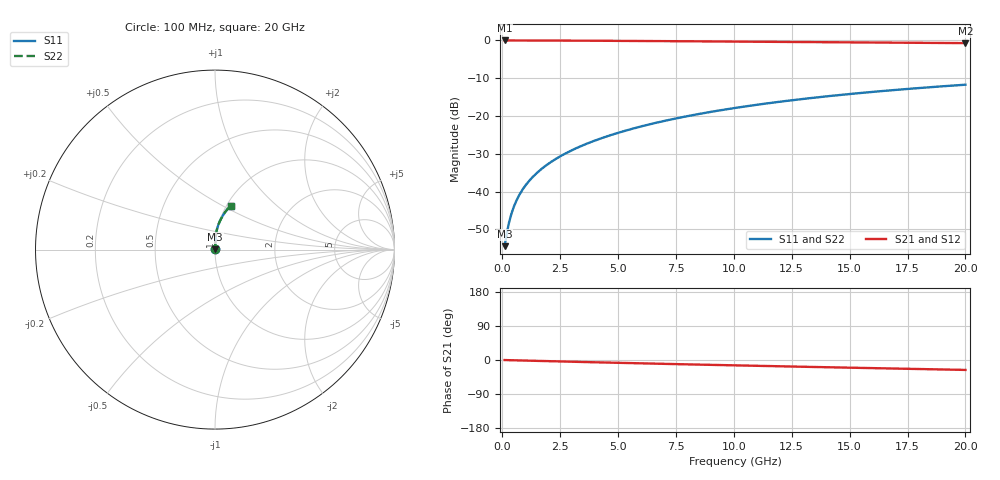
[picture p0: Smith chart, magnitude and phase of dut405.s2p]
! Touchstone file exported from HFSS 2024.1.0
!  File:  C:/UserFiles/LocalFiles/RDL_TSV_Batchsim/temp_RDL_bottom_405_1779683071.aedt
!  Generated:  12:26:51 PM May 25, 2026
!  Design:  RDL_bottom
!  Project:  temp_RDL_bottom_405_1779683071
!  Setup:  Setup1
!  Solution:  Sweep
! Variables:
!  dtsv = 10.80580581um
!  hbump = 3um
!  htsv = 83.5um
!  ldown = 352.14um
!  lrdl = 100um
!  p = 40
!  p1 = 51.18um
!  rhole = 1um
!  t = 450um
!  tdown = 4.45um
!  trdl = 3.915915916um
!  wdown = 22.64um
!  wrdl = 20um
# GHz S MA R 50.000000
! Terminal data exported
! Port[1] = RDL1_T1
! Port[2] = RDL1_T2
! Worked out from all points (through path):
!   200 points, 100 MHz to 20 GHz, reference 50 ohm
!   highest |S21| = -0.01 dB at 100 MHz (marker M1); lowest = -0.7 dB at 20 GHz (marker M2)
!   group delay of S21, straight-line fit = 3.6 ps
!   lowest |S11| = -54.4 dB at 100 MHz (marker M3), VSWR 1.00, Z = 50.1 + j0.127 ohm
!   |S11| at or under -10 dB: start of sweep to end of sweep
!   |S22| runs from -54.4 to -11.7 dB; largest |S21 - S12| = 3e-15
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0.1  0.001895 41.7  0.9986 -0.2  0.9986 -0.2  0.001895 41.7
! Gamma 0 0 0 0
! Port Impedance 50 0 50 0
0.2  0.002884 60.6  0.9985 -0.3  0.9985 -0.3  0.002883 60.6
0.3  0.004004 69.1  0.9984 -0.5  0.9984 -0.5  0.004003 69.2
0.4  0.005158 73.8  0.9983 -0.6  0.9983 -0.6  0.005156 73.8
0.5  0.006315 76.6  0.9982 -0.8  0.9982 -0.8  0.006314 76.6
0.7  0.008617 79.8  0.998 -1.1  0.998 -1.1  0.008615 79.8
0.8  0.009759 80.8  0.9979 -1.2  0.9979 -1.2  0.009758 80.8
1  0.01203 82.2  0.9977 -1.6  0.9977 -1.6  0.01203 82.2
1.2  0.0143 83.3  0.9974 -1.9  0.9974 -1.9  0.0143 83.3
1.4  0.01657 84.0  0.9971 -2.2  0.9971 -2.2  0.01657 84.1
1.7  0.01999 84.9  0.9966 -2.6  0.9966 -2.6  0.01999 84.9
2  0.02343 85.6  0.996 -3.1  0.996 -3.1  0.02343 85.6
2.7  0.0316 86.7  0.9943 -4.1  0.9943 -4.1  0.0316 86.7
3.5  0.04118 87.3  0.992 -5.3  0.992 -5.3  0.04118 87.3
4.2  0.04979 87.5  0.9896 -6.3  0.9896 -6.3  0.04979 87.4
5  0.05988 87.4  0.9866 -7.5  0.9866 -7.5  0.05988 87.4
6.8  0.08342 86.5  0.9791 -9.9  0.9791 -9.9  0.08342 86.5
8.4  0.1051 85.1  0.9722 -12.1  0.9722 -12.1  0.1051 85.1
10.1  0.1284 83.3  0.9648 -14.2  0.9648 -14.2  0.1284 83.2
13.4  0.1737 79.1  0.9503 -18.4  0.9503 -18.4  0.1737 79.1
16.7  0.2177 74.7  0.9356 -22.3  0.9356 -22.3  0.2176 74.7
20  0.2594 70.4  0.9206 -26.2  0.9206 -26.2  0.2594 70.4
